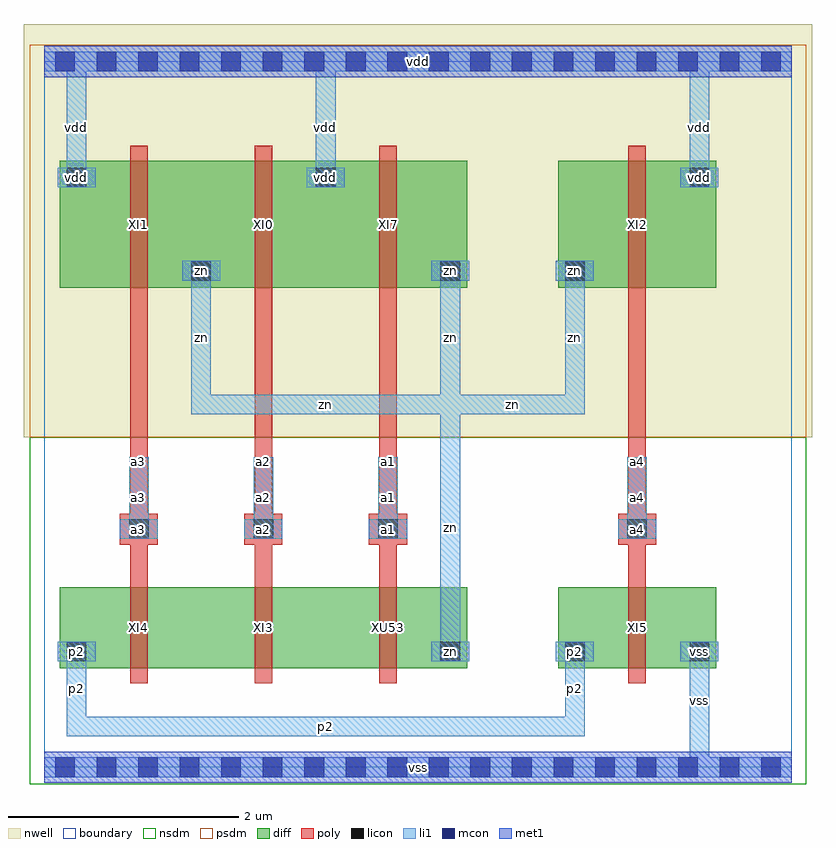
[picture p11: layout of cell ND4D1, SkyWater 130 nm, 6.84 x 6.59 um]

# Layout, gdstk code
import gdstk
lib = gdstk.Library(unit=1e-6, precision=1e-09)
def R(c, l, rs):  # rectangles x0, y0, x1, y1
    for r in rs: c.add(gdstk.rectangle(r[:2], r[2:], *l))
def A(c, l, x, y, w, h, nx, ny, dx, dy):  # array of equal rectangles
    R(c, l, [(x+i*dx, y+j*dy, x+i*dx+w, y+j*dy+h) for i in range(nx) for j in range(ny)])
L0_0 = (0, 0)
nwell = (64, 20)
diff = (65, 20)
poly = (66, 20)
licon = (66, 44)
li1 = (67, 20)
mcon = (67, 44)
met1 = (68, 20)
nsdm = (93, 44)
psdm = (94, 20)
boundary = (235, 4)

nd4d1 = lib.new_cell('ND4D1')
R(nd4d1, nwell, [(-0.18,2.86,6.66,6.445)])
A(nd4d1, diff, 0.135, 0.86, 1.37, 0.7, 3, 1, 1.08, 0)
A(nd4d1, diff, 3.375, 0.86, 0.29, 0.29, 3, 1, 1.08, 0)
A(nd4d1, diff, 0.135, 4.16, 1.37, 1.1, 3, 1, 1.08, 0)
R(nd4d1, diff, [(0.135,0.86,0.425,1.15), (4.455,0.86,5.825,1.56), (1.215,4.16,1.505,4.45), (3.375,4.16,3.665,4.45), (4.455,4.16,5.825,5.26), (4.455,4.16,4.745,4.45), (0.135,4.97,0.425,5.26), (2.295,4.97,2.585,5.26), (5.535,4.97,5.825,5.26)])
A(nd4d1, poly, 0.745, 0.73, 0.15, 0.96, 3, 1, 1.08, 0)
A(nd4d1, poly, 0.745, 0.93, 0.15, 3.45, 3, 1, 1.08, 0)
A(nd4d1, poly, 0.655, 1.93, 0.33, 0.27, 3, 1, 1.08, 0)
A(nd4d1, poly, 0.745, 4.03, 0.15, 1.36, 3, 1, 1.08, 0)
R(nd4d1, poly, [(5.065,0.73,5.215,1.69), (5.065,0.93,5.215,4.38), (4.975,1.93,5.305,2.2), (5.065,4.03,5.215,5.39)])
A(nd4d1, licon, 3.435, 0.92, 0.17, 0.17, 3, 1, 1.08, 0)
A(nd4d1, licon, 0.735, 1.98, 0.17, 0.17, 3, 1, 1.08, 0)
R(nd4d1, licon, [(0.195,0.92,0.365,1.09), (5.055,1.98,5.225,2.15), (1.275,4.22,1.445,4.39), (3.435,4.22,3.605,4.39), (4.515,4.22,4.685,4.39), (0.195,5.03,0.365,5.2), (2.355,5.03,2.525,5.2), (5.595,5.03,5.765,5.2)])
A(nd4d1, li1, 3.355, 0.92, 0.33, 0.17, 3, 1, 1.08, 0)
A(nd4d1, li1, 0.655, 1.98, 0.33, 0.17, 3, 1, 1.08, 0)
A(nd4d1, li1, 0.735, 1.98, 0.17, 0.71, 3, 1, 1.08, 0)
R(nd4d1, li1, [(0,-0.085,6.48,0.085), (5.595,0.06,5.765,1.09), (0.195,0.27,0.365,1.09), (0.195,0.27,4.685,0.44), (4.515,0.27,4.685,1.09), (0.115,0.92,0.445,1.09), (3.435,0.92,3.605,3.23), (4.975,1.98,5.305,2.15), (5.055,1.98,5.225,2.69), (1.275,3.06,1.445,4.39), (1.275,3.06,3.605,3.23), (3.435,3.06,4.685,3.23), (3.435,3.06,3.605,4.39), (4.515,3.06,4.685,4.39), (1.195,4.22,1.525,4.39), (3.355,4.22,3.685,4.39), (4.435,4.22,4.765,4.39), (0.115,5.03,0.445,5.2), (0.195,5.03,0.365,6.06), (2.275,5.03,2.605,5.2), (2.355,5.03,2.525,6.06), (5.515,5.03,5.845,5.2), (5.595,5.03,5.765,6.06), (0,6.035,6.48,6.205)])
A(nd4d1, mcon, 0.095, -0.085, 0.17, 0.17, 18, 2, 0.36, 6.12)
R(nd4d1, met1, [(0,-0.135,6.48,0.135), (0,5.985,6.48,6.255)])
R(nd4d1, nsdm, [(-0.125,-0.145,6.605,0.145), (-0.125,0.145,6.605,2.86)])
R(nd4d1, psdm, [(-0.125,2.86,6.605,5.975), (-0.125,5.975,6.605,6.265)])
R(nd4d1, boundary, [(0,0,6.48,6.12)])
nd4d1.add(gdstk.FlexPath([(0.115,0.355),(5.845,0.355)], 0, ends="flush", simple_path=True, layer=0, datatype=0))  # L0_0
nd4d1.add(gdstk.FlexPath([(0.115,1.005),(5.845,1.005)], 0, ends="flush", simple_path=True, layer=0, datatype=0))  # L0_0
nd4d1.add(gdstk.FlexPath([(0.115,1.415),(5.845,1.415)], 0, ends="flush", simple_path=True, layer=0, datatype=0))  # L0_0
nd4d1.add(gdstk.FlexPath([(0.115,2.065),(5.845,2.065)], 0, ends="flush", simple_path=True, layer=0, datatype=0))  # L0_0
nd4d1.add(gdstk.FlexPath([(0.115,2.605),(5.845,2.605)], 0, ends="flush", simple_path=True, layer=0, datatype=0))  # L0_0
nd4d1.add(gdstk.FlexPath([(0.115,3.145),(5.845,3.145)], 0, ends="flush", simple_path=True, layer=0, datatype=0))  # L0_0
nd4d1.add(gdstk.FlexPath([(0.115,4.305),(5.845,4.305)], 0, ends="flush", simple_path=True, layer=0, datatype=0))  # L0_0
nd4d1.add(gdstk.FlexPath([(0.115,4.775),(5.845,4.775)], 0, ends="flush", simple_path=True, layer=0, datatype=0))  # L0_0
nd4d1.add(gdstk.FlexPath([(0.115,5.115),(5.845,5.115)], 0, ends="flush", simple_path=True, layer=0, datatype=0))  # L0_0
nd4d1.add(gdstk.FlexPath([(0.115,5.765),(5.845,5.765)], 0, ends="flush", simple_path=True, layer=0, datatype=0))  # L0_0
nd4d1.add(gdstk.FlexPath([(0.28,0.06),(0.28,6.06)], 0, ends="flush", simple_path=True, layer=0, datatype=0))  # L0_0
nd4d1.add(gdstk.FlexPath([(0.82,0.06),(0.82,6.06)], 0, ends="flush", simple_path=True, layer=0, datatype=0))  # L0_0
nd4d1.add(gdstk.FlexPath([(1.36,0.06),(1.36,6.06)], 0, ends="flush", simple_path=True, layer=0, datatype=0))  # L0_0
nd4d1.add(gdstk.FlexPath([(1.9,0.06),(1.9,6.06)], 0, ends="flush", simple_path=True, layer=0, datatype=0))  # L0_0
nd4d1.add(gdstk.FlexPath([(2.44,0.06),(2.44,6.06)], 0, ends="flush", simple_path=True, layer=0, datatype=0))  # L0_0
nd4d1.add(gdstk.FlexPath([(2.98,0.06),(2.98,6.06)], 0, ends="flush", simple_path=True, layer=0, datatype=0))  # L0_0
nd4d1.add(gdstk.FlexPath([(3.52,0.06),(3.52,6.06)], 0, ends="flush", simple_path=True, layer=0, datatype=0))  # L0_0
nd4d1.add(gdstk.FlexPath([(4.06,0.06),(4.06,6.06)], 0, ends="flush", simple_path=True, layer=0, datatype=0))  # L0_0
nd4d1.add(gdstk.FlexPath([(4.6,0.06),(4.6,6.06)], 0, ends="flush", simple_path=True, layer=0, datatype=0))  # L0_0
nd4d1.add(gdstk.FlexPath([(5.14,0.06),(5.14,6.06)], 0, ends="flush", simple_path=True, layer=0, datatype=0))  # L0_0
nd4d1.add(gdstk.FlexPath([(5.68,0.06),(5.68,6.06)], 0, ends="flush", simple_path=True, layer=0, datatype=0))  # L0_0
nd4d1.add(gdstk.Label('XI3', (1.9,1.21), layer=65, texttype=20))
nd4d1.add(gdstk.Label('XI5', (5.14,1.21), layer=65, texttype=20))
nd4d1.add(gdstk.Label('XI4', (0.82,1.21), layer=65, texttype=20))
nd4d1.add(gdstk.Label('XU53', (2.98,1.21), layer=65, texttype=20))
nd4d1.add(gdstk.Label('XI7', (2.98,4.71), layer=65, texttype=20))
nd4d1.add(gdstk.Label('XI2', (5.14,4.71), layer=65, texttype=20))
nd4d1.add(gdstk.Label('XI1', (0.82,4.71), layer=65, texttype=20))
nd4d1.add(gdstk.Label('XI0', (1.9,4.71), layer=65, texttype=20))
nd4d1.add(gdstk.Label('p2', (4.6,1.005), layer=65, texttype=20))
nd4d1.add(gdstk.Label('p2', (0.28,1.005), layer=65, texttype=20))
nd4d1.add(gdstk.Label('zn', (3.52,1.005), layer=65, texttype=20))
nd4d1.add(gdstk.Label('zn', (3.52,4.305), layer=65, texttype=20))
nd4d1.add(gdstk.Label('zn', (4.6,4.305), layer=65, texttype=20))
nd4d1.add(gdstk.Label('zn', (1.36,4.305), layer=65, texttype=20))
nd4d1.add(gdstk.Label('vss', (5.68,1.005), layer=65, texttype=20))
nd4d1.add(gdstk.Label('vdd', (2.44,5.115), layer=65, texttype=20))
nd4d1.add(gdstk.Label('vdd', (5.68,5.115), layer=65, texttype=20))
nd4d1.add(gdstk.Label('vdd', (0.28,5.115), layer=65, texttype=20))
nd4d1.add(gdstk.Label('a2', (1.9,2.655), layer=66, texttype=20))
nd4d1.add(gdstk.Label('a2', (1.9,2.065), layer=66, texttype=20))
nd4d1.add(gdstk.Label('a4', (5.14,2.655), layer=66, texttype=20))
nd4d1.add(gdstk.Label('a4', (5.14,2.065), layer=66, texttype=20))
nd4d1.add(gdstk.Label('a3', (0.82,2.655), layer=66, texttype=20))
nd4d1.add(gdstk.Label('a3', (0.82,2.065), layer=66, texttype=20))
nd4d1.add(gdstk.Label('a1', (2.98,2.655), layer=66, texttype=20))
nd4d1.add(gdstk.Label('a1', (2.98,2.065), layer=66, texttype=20))
nd4d1.add(gdstk.Label('a2', (1.9,2.065), layer=66, texttype=44))
nd4d1.add(gdstk.Label('p2', (4.6,1.005), layer=66, texttype=44))
nd4d1.add(gdstk.Label('p2', (0.28,1.005), layer=66, texttype=44))
nd4d1.add(gdstk.Label('a4', (5.14,2.065), layer=66, texttype=44))
nd4d1.add(gdstk.Label('a3', (0.82,2.065), layer=66, texttype=44))
nd4d1.add(gdstk.Label('zn', (3.52,1.005), layer=66, texttype=44))
nd4d1.add(gdstk.Label('zn', (3.52,4.305), layer=66, texttype=44))
nd4d1.add(gdstk.Label('zn', (4.6,4.305), layer=66, texttype=44))
nd4d1.add(gdstk.Label('zn', (1.36,4.305), layer=66, texttype=44))
nd4d1.add(gdstk.Label('a1', (2.98,2.065), layer=66, texttype=44))
nd4d1.add(gdstk.Label('vss', (5.68,1.005), layer=66, texttype=44))
nd4d1.add(gdstk.Label('vdd', (2.44,5.115), layer=66, texttype=44))
nd4d1.add(gdstk.Label('vdd', (5.68,5.115), layer=66, texttype=44))
nd4d1.add(gdstk.Label('vdd', (0.28,5.115), layer=66, texttype=44))
nd4d1.add(gdstk.Label('a2', (1.9,2.065), layer=67, texttype=16))
nd4d1.add(gdstk.Label('a2', (1.9,2.335), layer=67, texttype=16))
nd4d1.add(gdstk.Label('p2', (4.6,1.005), layer=67, texttype=20))
nd4d1.add(gdstk.Label('p2', (0.28,1.005), layer=67, texttype=20))
nd4d1.add(gdstk.Label('p2', (4.6,0.68), layer=67, texttype=20))
nd4d1.add(gdstk.Label('p2', (2.44,0.355), layer=67, texttype=20))
nd4d1.add(gdstk.Label('p2', (0.28,0.68), layer=67, texttype=20))
nd4d1.add(gdstk.Label('a4', (5.14,2.065), layer=67, texttype=16))
nd4d1.add(gdstk.Label('a4', (5.14,2.335), layer=67, texttype=16))
nd4d1.add(gdstk.Label('a3', (0.82,2.065), layer=67, texttype=16))
nd4d1.add(gdstk.Label('a3', (0.82,2.335), layer=67, texttype=16))
nd4d1.add(gdstk.Label('zn', (3.52,1.005), layer=67, texttype=16))
nd4d1.add(gdstk.Label('zn', (3.52,4.305), layer=67, texttype=16))
nd4d1.add(gdstk.Label('zn', (4.6,4.305), layer=67, texttype=16))
nd4d1.add(gdstk.Label('zn', (1.36,4.305), layer=67, texttype=16))
nd4d1.add(gdstk.Label('zn', (3.52,2.075), layer=67, texttype=16))
nd4d1.add(gdstk.Label('zn', (4.06,3.145), layer=67, texttype=16))
nd4d1.add(gdstk.Label('zn', (4.6,3.725), layer=67, texttype=16))
nd4d1.add(gdstk.Label('zn', (2.44,3.145), layer=67, texttype=16))
nd4d1.add(gdstk.Label('zn', (1.36,3.725), layer=67, texttype=16))
nd4d1.add(gdstk.Label('zn', (3.52,3.725), layer=67, texttype=16))
nd4d1.add(gdstk.Label('a1', (2.98,2.065), layer=67, texttype=16))
nd4d1.add(gdstk.Label('a1', (2.98,2.335), layer=67, texttype=16))
nd4d1.add(gdstk.Label('vss', (5.68,1.005), layer=67, texttype=20))
nd4d1.add(gdstk.Label('vss', (5.68,0.575), layer=67, texttype=20))
nd4d1.add(gdstk.Label('vdd', (2.44,5.115), layer=67, texttype=20))
nd4d1.add(gdstk.Label('vdd', (2.44,5.545), layer=67, texttype=20))
nd4d1.add(gdstk.Label('vdd', (5.68,5.115), layer=67, texttype=20))
nd4d1.add(gdstk.Label('vdd', (5.68,5.545), layer=67, texttype=20))
nd4d1.add(gdstk.Label('vdd', (0.28,5.115), layer=67, texttype=20))
nd4d1.add(gdstk.Label('vdd', (0.28,5.545), layer=67, texttype=20))
nd4d1.add(gdstk.Label('vss', (3.24,0), layer=67, texttype=16))
nd4d1.add(gdstk.Label('vdd', (3.24,6.12), layer=67, texttype=16))
nd4d1.add(gdstk.Label('vss', (3.24,0), layer=68, texttype=16))
nd4d1.add(gdstk.Label('vdd', (3.24,6.12), layer=68, texttype=16))

lib.write_gds('ND4D1.gds')
